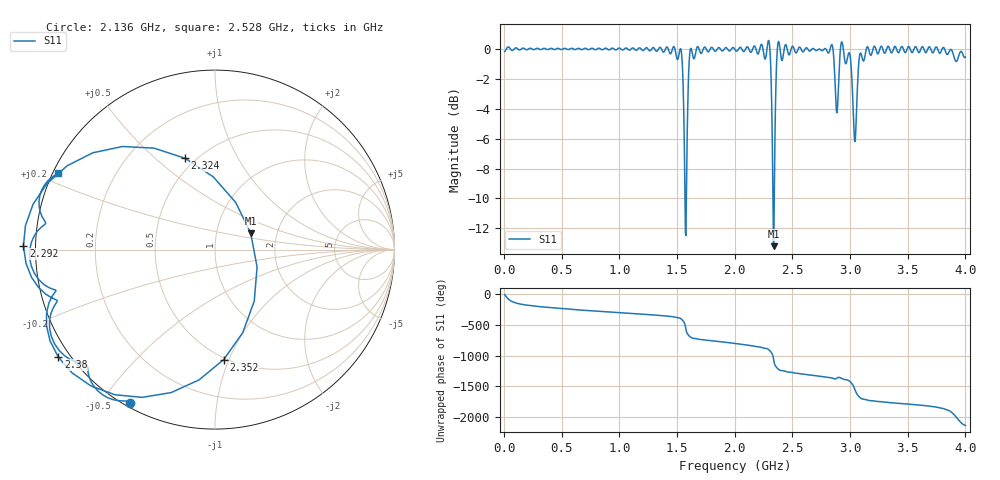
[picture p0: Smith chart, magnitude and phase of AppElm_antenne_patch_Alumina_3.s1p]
! TOUCHSTONE file generated by CST MICROWAVE STUDIO
! Date and time: Thu Jun  9 09:30:36 2022
! Project name: AppElm_antenne_patch_Alumina.cst
! Parameters = {L=30.5; W=41.8; e=0.035; h=1.6; lambda=0.190476; ls=90; w0=1.12; w1=0.317; ws=90; y0=14; y1=10}
! Header version: 2018
! Port assignment regex: !\s*Touchstone port\s*([0-9]+)\s*=\s*(CST MWS port|CST DS port)\s*([0-9]+|Zmin|Zmax)\s*\(\"(.*)\"\)(\s*mode\s*([0-9]+))?.*
! Touchstone port assignment:
! Touchstone port 1 = CST MWS port 1 ("")
# GHz S MA R 50
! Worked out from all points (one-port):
!   1000 points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, 4 MHz to 4 GHz, reference 50 ohm
!   lowest |S11| = -13.2 dB at 2.336 GHz (marker M1), VSWR 1.56, Z = 73.2 + j14.1 ohm
!   |S11| at or under -10 dB: 1.568 GHz to 1.58 GHz (11.95 MHz wide, 0.759 % of centre); 2.330894 GHz to 2.342503 GHz (11.61 MHz wide, 0.497 % of centre)
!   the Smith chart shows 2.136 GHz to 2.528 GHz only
!   S11 on the Smith chart (normalised r, x): 2.136 GHz: 0.02, -0.59; 2.292 GHz: -0.03, +0.01; 2.324 GHz: 0.44, +0.63; 2.352 GHz: 0.49, -0.96; 2.38 GHz: -0.03, -0.31; 2.528 GHz: 0.02, +0.23
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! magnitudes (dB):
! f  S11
! 4 MHz  -0.2
! 504 MHz  0.0
! 1.004 GHz  0.0
! 1.504 GHz  -0.7
! 1.536 GHz  -0.1
! 1.564 GHz  -7.3
! 1.576 GHz  -12.5
! 1.608 GHz  -0.5
! 1.624 GHz  0.0
! 2.004 GHz  -0.1
! 2.136 GHz  -0.2
! 2.292 GHz  0.6
! 2.308 GHz  -0.5
! 2.324 GHz  -5.4
! 2.336 GHz  -13.2
! 2.352 GHz  -4.2
! 2.368 GHz  -0.2
! 2.38 GHz  0.5
! 2.504 GHz  0.2
! 2.528 GHz  -0.3
! 2.836 GHz  0.2
! 2.884 GHz  -4.3
! 2.928 GHz  0.5
! 3.004 GHz  -0.7
! 3.04 GHz  -6.2
! 3.096 GHz  -0.3
! 3.504 GHz  0.1
! 4 GHz  -0.5
